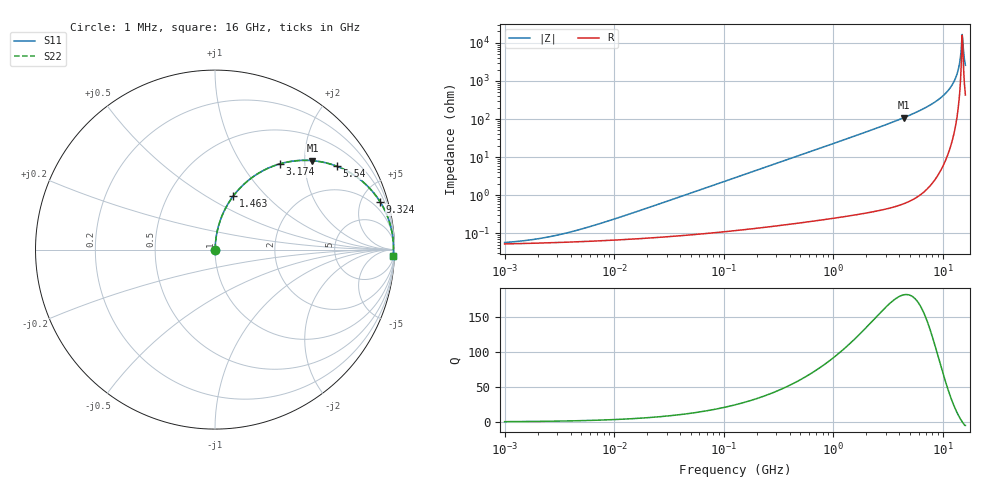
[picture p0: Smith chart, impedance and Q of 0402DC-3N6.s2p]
# MHz  S  MA  R  50
!Freq  MagS11  AngS11  MagS21  AngS21  MagS12  AngS12  MagS22  AngS22
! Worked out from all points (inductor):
!   801 points, 1 MHz to 16 GHz, reference 50 ohm
!   read as one part in series: L = 3.6 nH near 8.627 MHz
!   highest Q = 182 at 4.402 GHz (marker M1), where L = 3.94 nH
!   self-resonance near 14.95 GHz
!   S11 on the Smith chart (normalised r, x): 1 MHz: 1.00, +0.00; 1.463 GHz: 1.01, +0.67; 3.174 GHz: 1.01, +1.50; 5.54 GHz: 1.02, +2.90; 9.324 GHz: 1.08, +6.88; 16 GHz: 10, -51
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1  0.0005693 23.4  0.9995 -0.0  0.9995 -0.0  0.0005693 23.4
2.25045  0.0007521 42.5  0.9994 -0.0  0.9994 -0.0  0.0007521 42.5
5.064525  0.001293 62.2  0.9994 -0.1  0.9994 -0.1  0.001293 62.2
25.34076  0.00578 82.0  0.9992 -0.3  0.9992 -0.3  0.00578 82.0
126.7946  0.02866 86.0  0.9984 -1.6  0.9984 -1.6  0.02866 86.0
642.1543  0.1437 80.9  0.9876 -8.3  0.9876 -8.3  0.1437 80.9
1462.738  0.316 71.1  0.946 -18.4  0.946 -18.4  0.316 71.1
2181.084  0.4488 62.9  0.8905 -26.7  0.8905 -26.7  0.4488 62.9
3174.407  0.5992 52.8  0.7971 -36.8  0.7971 -36.8  0.5992 52.8
3213.071  0.6043 52.5  0.7932 -37.2  0.7932 -37.2  0.6043 52.5
4401.715  0.7347 42.4  0.6743 -47.3  0.6743 -47.3  0.7347 42.4
5540.12  0.8213 34.5  0.5659 -55.2  0.5659 -55.2  0.8213 34.5
7408.073  0.9091 24.2  0.4101 -65.4  0.4101 -65.4  0.9091 24.2
9324.006  0.9572 16.2  0.2784 -73.2  0.2784 -73.2  0.9572 16.2
11180.69  0.9812 9.9  0.1723 -78.8  0.1723 -78.8  0.9812 9.9
12773.33  0.9911 5.4  0.09421 -81.9  0.09421 -81.9  0.9911 5.4
13735.69  0.9937 3.0  0.05171 -81.5  0.05171 -81.5  0.9937 3.0
14417.22  0.9943 1.3  0.02368 -75.5  0.02368 -75.5  0.9943 1.3
14770.56  0.9944 0.5  0.01048 -57.2  0.01048 -57.2  0.9944 0.5
15132.57  0.9942 -0.3  0.007889 42.2  0.007889 42.2  0.9942 -0.3
15503.44  0.9938 -1.1  0.02043 71.7  0.02043 71.7  0.9938 -1.1
16000  0.9929 -2.2  0.0385 78.3  0.0385 78.3  0.9929 -2.2
